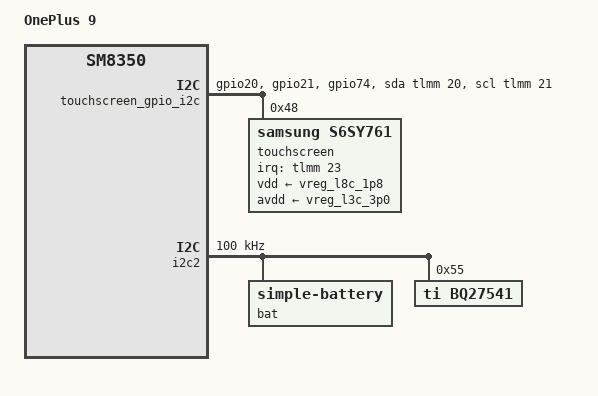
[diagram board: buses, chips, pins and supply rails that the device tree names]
/dts-v1/;

#include "sm8350-oneplus-common.dtsi"

/ {
	model = "OnePlus 9";
	compatible = "qcom,sm8350", "qcom,lahaina", "qcom,lemonade";

	chosen {
		framebuffer0: framebuffer@e1000000 {
			compatible = "simple-framebuffer";
			reg = <0x0 0xe1000000 0x0 0x02300000>;
			width = <1080>;
			height = <2400>;
			stride = <(1080 * 4)>;
			format = "a8r8g8b8";

			//clocks = <&gcc GCC_DISP_HF_AXI_CLK>,
			//	 <&gcc GCC_DISP_SF_AXI_CLK>;
		};
	};

	touchscreen_gpio_i2c {
		compatible = "i2c-gpio";
		sda-gpios = <&tlmm 20 (GPIO_ACTIVE_HIGH|GPIO_OPEN_DRAIN)>;
		scl-gpios = <&tlmm 21 (GPIO_ACTIVE_HIGH|GPIO_OPEN_DRAIN)>;
		#address-cells = <1>;
		#size-cells = <0>;

		pinctrl-names = "default";
		pinctrl-0 = <&i2c4_default &tp_enable_2v8>;

		touchscreen@48 {
			compatible = "samsung,s6sy761";
			reg = <0x48>;
			interrupt-parent = <&tlmm>;
			interrupts = <23 0x2008>;

			vdd-supply = <&vreg_l8c_1p8>;
			avdd-supply = <&vreg_l3c_3p0>;
			
			pinctrl-names = "default", "sleep";
			pinctrl-0 = <&tp_rst_active &tp_irq_active>;
			pinctrl-1 = <&tp_rst_suspend>;
		};
	};
};

&reserved_memory {
	framebuffer_region@e1000000 {
		reg = <0x0 0xe1000000 0x0 0x02300000>;
		no-map;
	};
};

// TODO: Does this need to be here?

&i2c2 {
	status = "okay";
	clock-frequency = <100000>;

	bat: battery {
		compatible = "simple-battery";
		voltage-min-design-microvolt = <3200000>;
		energy-full-design-microwatt-hours = <15840000>;
		charge-full-design-microamp-hours = <2225000>;
	};

	bq27541: fuel-gauge@55 {
		compatible = "ti,bq27541";
		reg = <0x55>;
		monitored-battery = <&bat>;
	};
};

&tlmm {
	gpio-reserved-ranges = <52 8>;

	// The tp_* ones seem lemonade-specific, at least

	tp_irq_active: tp_irq_active {
		pins = "gpio23";
		function = "gpio";
		drive-strength = <8>;
		bias-disable;
		input-enable;
	};

	tp_rst_active: tp_rst_active {
		pins = "gpio22";
		function = "gpio";
		drive-strength = <8>;
		bias-pull-up;
	};

	tp_enable_2v8: tp_enable_2v8 {
		pins = "gpio74";
		function = "gpio";
		drive-strength = <8>;
		bias-pull-up;
		output-high;
	};

	i2c4_default: qup-i2c4-default {
		pins = "gpio20", "gpio21";
		function = "gpio";
		drive-strength = <2>;
		bias-disable;
	};

	tp_rst_suspend: tp_rst_suspend {
		pins = "gpio22";
		function = "gpio";
		drive-strength = <8>;
		bias-pull-down;
	};
};
